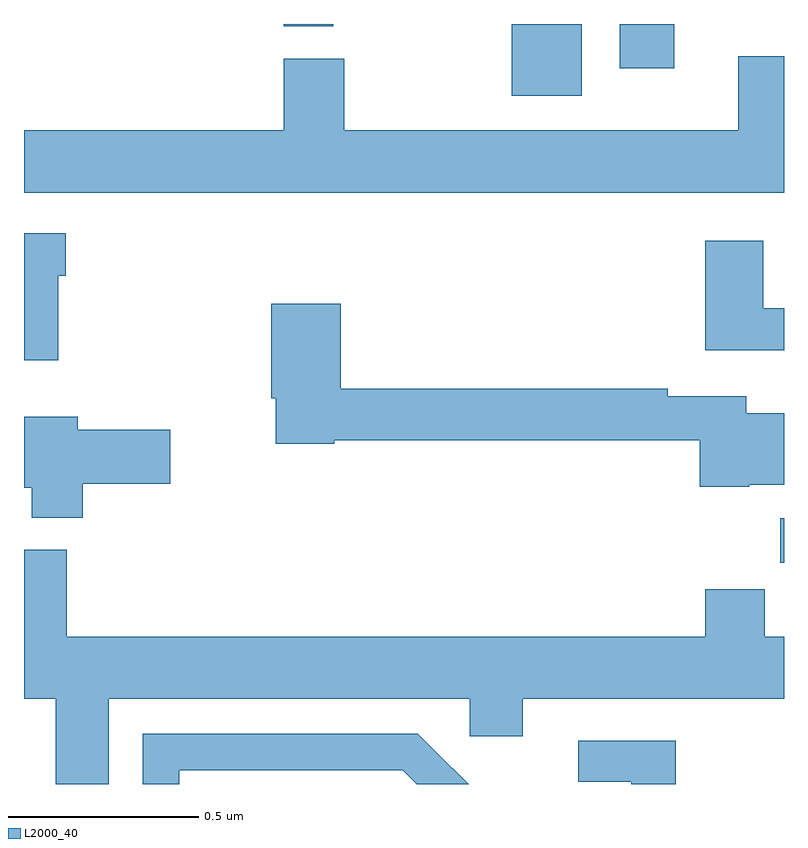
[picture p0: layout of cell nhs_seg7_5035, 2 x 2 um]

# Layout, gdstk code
import gdstk
lib = gdstk.Library(unit=1e-6, precision=1e-09)
def R(c, l, rs):  # rectangles x0, y0, x1, y1
    for r in rs: c.add(gdstk.rectangle(r[:2], r[2:], *l))
def P(c, l, *ps):  # polygons
    for p in ps: c.add(gdstk.Polygon(p, *l))
L2000_40 = (2000, 40)

nhs_seg7_5035 = lib.new_cell('nhs_seg7_5035')
R(nhs_seg7_5035, L2000_40, [(181.99,1059.582,182,1059.7), (181.283,1060.811,181.468,1061), (181.568,1060.884,181.711,1061), (180.684,1060.994,180.814,1061)])
P(nhs_seg7_5035, L2000_40, [(182,1060.915),(181.88,1060.915),(181.88,1060.72),(180.843,1060.72),(180.843,1060.909),(180.683,1060.909),(180.683,1060.72),(180,1060.72),(180,1060.556),(182,1060.556)],
  [(180.09,1060.337),(180.11,1060.337),(180.11,1060.45),(180,1060.45),(180,1060.115),(180.09,1060.115)],
  [(182,1060.252),(181.945,1060.252),(181.945,1060.429),(181.793,1060.429),(181.793,1060.142),(182,1060.142)],
  [(181.908,1059.788),(182,1059.788),(182,1059.976),(181.9,1059.976),(181.9,1060.02),(181.694,1060.02),(181.694,1060.04),(180.833,1060.04),(180.833,1060.264),(180.65,1060.264),(180.65,1060.015),(180.662,1060.015),(180.662,1059.896),(180.816,1059.896),(180.816,1059.904),(181.778,1059.904),(181.778,1059.782),(181.908,1059.782)],
  [(180.155,1059.79),(180.385,1059.79),(180.385,1059.932),(180.142,1059.932),(180.142,1059.967),(180,1059.967),(180,1059.779),(180.02,1059.779),(180.02,1059.701),(180.155,1059.701)],
  [(180.223,1059.224),(181.173,1059.224),(181.173,1059.126),(181.312,1059.126),(181.312,1059.224),(182,1059.224),(182,1059.388),(181.949,1059.388),(181.949,1059.512),(181.793,1059.512),(181.793,1059.388),(180.113,1059.388),(180.113,1059.616),(180,1059.616),(180,1059.224),(180.083,1059.224),(180.083,1059),(180.223,1059)],
  [(180.409,1059.036),(180.997,1059.036),(181.033,1059),(181.17,1059),(181.128,1059.042),(181.127,1059.041),(181.036,1059.132),(180.312,1059.132),(180.312,1059),(180.409,1059)],
  [(181.715,1059.114),(181.458,1059.114),(181.458,1059.006),(181.598,1059.006),(181.598,1059),(181.715,1059)])

lib.write_gds('nhs_seg7_5035.gds')
